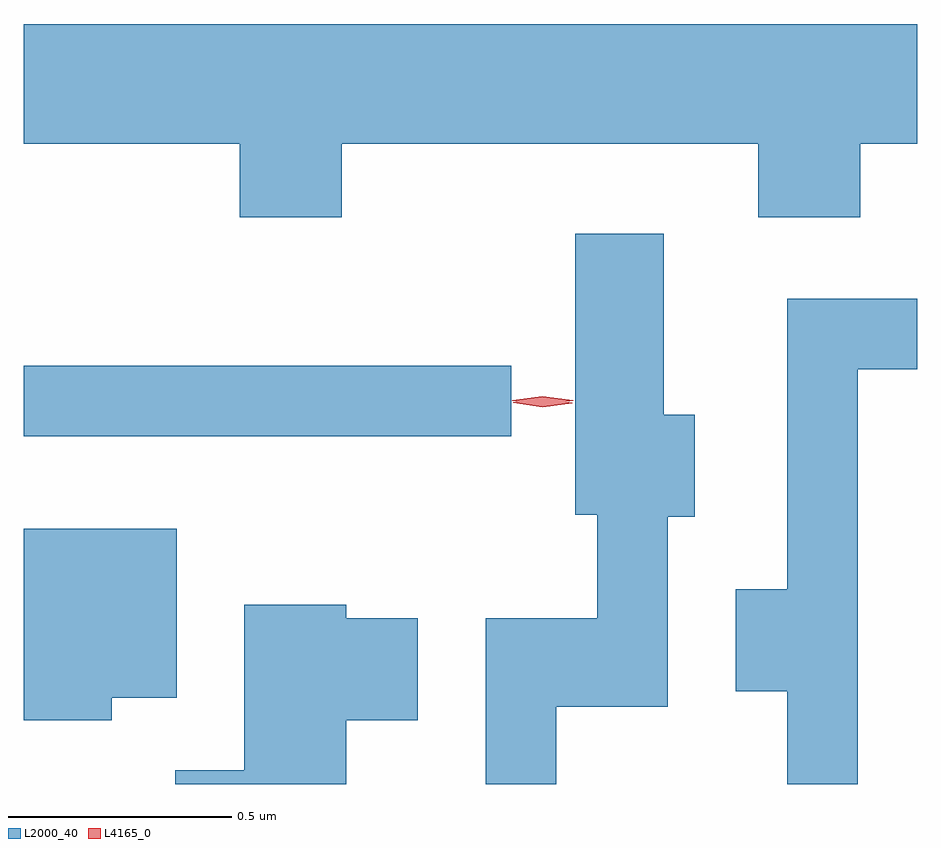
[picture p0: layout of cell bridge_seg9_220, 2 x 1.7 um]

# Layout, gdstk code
import gdstk
lib = gdstk.Library(unit=1e-6, precision=1e-09)
def R(c, l, rs):  # rectangles x0, y0, x1, y1
    for r in rs: c.add(gdstk.rectangle(r[:2], r[2:], *l))
def P(c, l, *ps):  # polygons
    for p in ps: c.add(gdstk.Polygon(p, *l))
L2000_40 = (2000, 40)
L4165_0 = (4165, 0)

bridge_seg9_220 = lib.new_cell('bridge_seg9_220')
R(bridge_seg9_220, L2000_40, [(1126.267,1948.981,1127.358,1949.139)])
P(bridge_seg9_220, L2000_40, [(1126.979,1949.636),(1127.911,1949.636),(1127.911,1949.471),(1128.139,1949.471),(1128.139,1949.636),(1128.267,1949.636),(1128.267,1949.904),(1126.267,1949.904),(1126.267,1949.636),(1126.751,1949.636),(1126.751,1949.471),(1126.979,1949.471)],
  [(1127.459,1948.376),(1127.709,1948.376),(1127.709,1948.801),(1127.769,1948.801),(1127.769,1949.029),(1127.699,1949.029),(1127.699,1949.434),(1127.501,1949.434),(1127.501,1948.806),(1127.551,1948.806),(1127.551,1948.574),(1127.301,1948.574),(1127.301,1948.203),(1127.459,1948.203)],
  [(1128.134,1949.131),(1128.267,1949.131),(1128.267,1949.289),(1127.976,1949.289),(1127.976,1948.639),(1127.861,1948.639),(1127.861,1948.411),(1127.976,1948.411),(1127.976,1948.203),(1128.134,1948.203)],
  [(1126.464,1948.396),(1126.609,1948.396),(1126.609,1948.774),(1126.267,1948.774),(1126.267,1948.346),(1126.464,1948.346)],
  [(1126.989,1948.346),(1127.149,1948.346),(1127.149,1948.574),(1126.989,1948.574),(1126.989,1948.604),(1126.761,1948.604),(1126.761,1948.234),(1126.606,1948.234),(1126.606,1948.203),(1126.989,1948.203)])
P(bridge_seg9_220, L4165_0, [(1127.428,1949.051),(1127.36,1949.061),(1127.36,1949.061),(1127.36,1949.062),(1127.428,1949.071),(1127.497,1949.062),(1127.497,1949.061),(1127.497,1949.061)],
  [(1127.429,1949.046),(1127.363,1949.056),(1127.363,1949.056),(1127.363,1949.057),(1127.429,1949.066),(1127.495,1949.056),(1127.495,1949.056),(1127.495,1949.055)])

lib.write_gds('bridge_seg9_220.gds')
